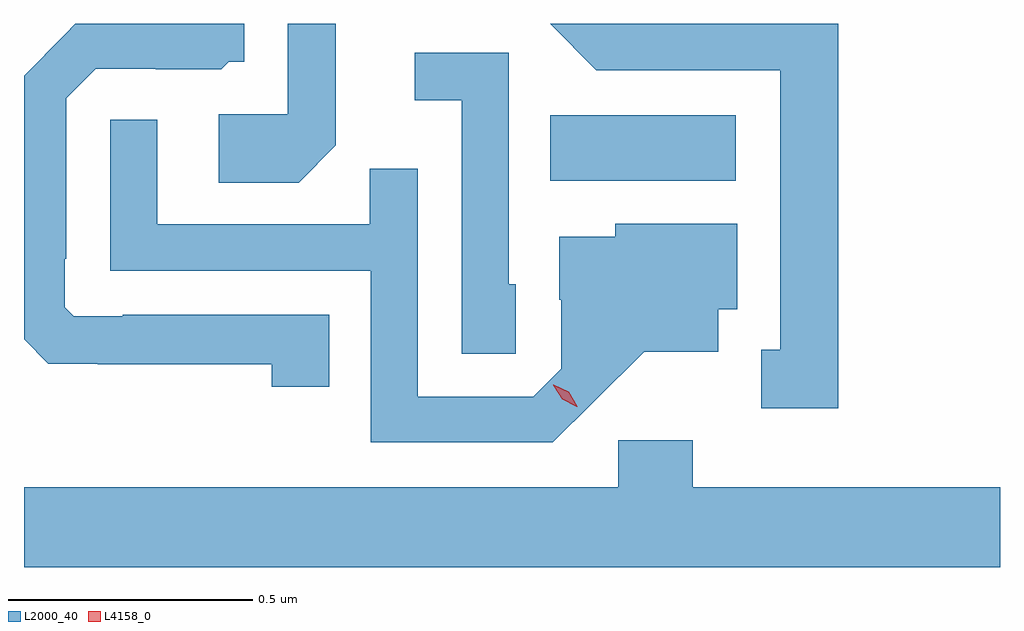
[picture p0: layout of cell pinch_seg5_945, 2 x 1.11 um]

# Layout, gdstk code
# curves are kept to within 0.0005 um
import gdstk
lib = gdstk.Library(unit=1e-6, precision=1e-09)
def R(c, l, rs):  # rectangles x0, y0, x1, y1
    for r in rs: c.add(gdstk.rectangle(r[:2], r[2:], *l))
def P(c, l, *ps):  # polygons
    for p in ps: c.add(gdstk.Polygon(p, *l))
L2000_40 = (2000, 40)
L4158_0 = (4158, 0)

pinch_seg5_945 = lib.new_cell('pinch_seg5_945')
R(pinch_seg5_945, L2000_40, [(689.704,888.188,690.085,888.322)])
P(pinch_seg5_945, L2000_40, [(689.252,887.913),(688.828,887.913),(688.828,887.91),(688.728,887.91),(688.71,887.928),(688.71,888.028),(688.713,888.028),(688.713,888.357),(688.773,888.417),(688.896,888.417),(688.896,888.416),(689.03,888.416),(689.046,888.432),(689.077,888.432),(689.077,888.509),(688.731,888.509),(688.626,888.403),(688.626,887.863),(688.676,887.813),(688.777,887.813),(688.777,887.812),(689.134,887.812),(689.134,887.766),(689.252,887.766)],
  [(689.265,888.26),(689.265,888.509),(689.166,888.509),(689.166,888.324),(689.025,888.324),(689.025,888.184),(689.189,888.184)],
  [(690.295,888.509),(689.704,888.509),(689.799,888.414),(690.176,888.414),(690.176,887.841),(690.137,887.841),(690.137,887.721),(690.295,887.721)],
  [(689.634,887.976),(689.619,887.976),(689.619,888.45),(689.427,888.45),(689.427,888.353),(689.523,888.353),(689.523,887.833),(689.634,887.833)],
  [(689.794,887.735),(689.897,887.837),(690.049,887.837),(690.049,887.924),(690.088,887.924),(690.088,888.1),(689.838,888.1),(689.838,888.073),(689.723,888.073),(689.723,887.944),(689.727,887.944),(689.727,887.802),(689.67,887.745),(689.433,887.745),(689.433,888.212),(689.335,888.212),(689.335,888.099),(688.899,888.099),(688.899,888.313),(688.803,888.313),(688.803,888.003),(689.337,888.003),(689.337,887.652),(689.71,887.652)],
  [(690.626,887.56),(689.996,887.56),(689.996,887.656),(689.844,887.656),(689.844,887.56),(688.626,887.56),(688.626,887.396),(690.626,887.396)])
P(pinch_seg5_945, L4158_0, [(689.759,887.725),(689.729,887.74),(689.711,887.769),(689.711,887.77),(689.712,887.77),(689.742,887.755),(689.76,887.726),(689.76,887.725)])

lib.write_gds('pinch_seg5_945.gds')
